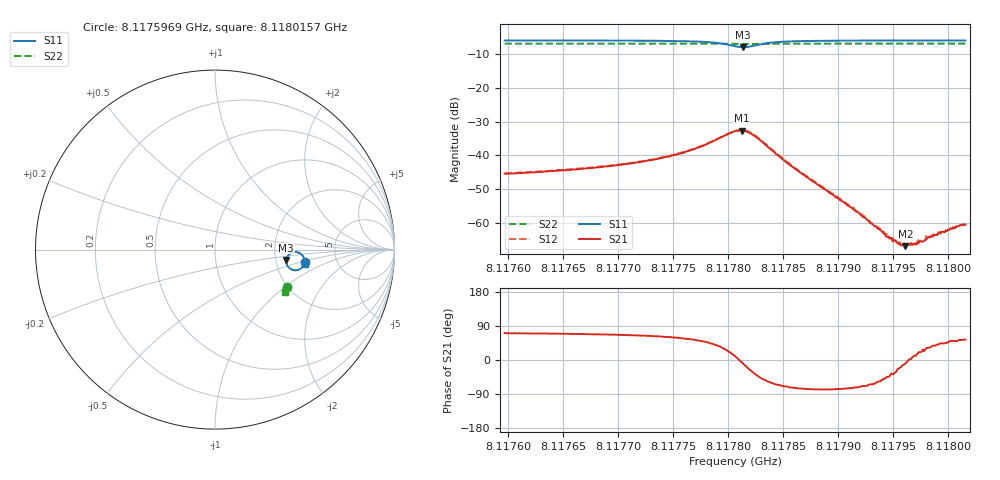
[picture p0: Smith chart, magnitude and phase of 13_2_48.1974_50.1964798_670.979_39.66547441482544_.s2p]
#  HZ  S  RI  R  50.00
! Rohde & Schwarz Vector Network Analyzer
! Rohde-Schwarz,ZNB20-2Port,1311601062101988,3.16
! Created: UTC 3/20/2024, 11:36:38 AM
! freq[Hz]  re:S11  im:S11  re:S21  im:S21  re:S12  im:S12  re:S22  im:S22
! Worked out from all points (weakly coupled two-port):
!   401 points, 8.1175969 GHz to 8.1180157 GHz, reference 50 ohm
!   highest |S21| = -32.65 dB at 8.1178126 GHz (marker M1); lowest = -67.0 dB at 8.1179613 GHz (marker M2)
!   lowest |S11| = -7.9 dB at 8.1178137 GHz (marker M3), VSWR 2.34, Z = 114 - j15.9 ohm
!   |S11| at or under -10 dB: nowhere
!   |S22| runs from -7.0 to -6.9 dB; largest |S21 - S12| = 0.00071
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8.11759695e9  0.5004 -0.067  0.00171 0.00505  0.00185 0.00511  0.4015 -0.2083
8.11766709e9  0.4979 -0.0766  0.00232 0.00586  0.00242 0.00593  0.3993 -0.2129
8.11770478e9  0.4951 -0.0837  0.00296 0.00668  0.0031 0.00678  0.3982 -0.2155
8.11773723e9  0.4904 -0.0924  0.00413 0.00791  0.00429 0.00798  0.397 -0.2177
8.11776969e9  0.4765 -0.1065  0.00739 0.00992  0.00767 0.00997  0.3951 -0.2201
8.11779376e9  0.4404 -0.1149  0.0155 0.0104  0.0155 0.0103  0.3925 -0.2216
8.11780633e9  0.4048 -0.0922  0.0224 0.00399  0.0225 0.0041  0.3908 -0.2208
8.11781261e9  0.3965 -0.0635  0.0232 -0.00244  0.0236 -0.00248  0.3905 -0.2199
8.11781366e9  0.3969 -0.0582  0.0228 -0.00372  0.0235 -0.00349  0.3906 -0.2196
8.11781889e9  0.4064 -0.0341  0.0199 -0.00873  0.0205 -0.00875  0.3911 -0.2188
8.11782517e9  0.4281 -0.0172  0.0147 -0.0117  0.0152 -0.0119  0.3922 -0.2187
8.11784506e9  0.4774 -0.0229  0.00415 -0.00912  0.0043 -0.00939  0.3938 -0.2208
8.11787647e9  0.4952 -0.046  0.000942 -0.00405  0.000954 -0.00421  0.3935 -0.224
8.11792358e9  0.4991 -0.0626  0.000435 -0.00111  0.000433 -0.00117  0.3919 -0.2274
8.11794661e9  0.4994 -0.0674  0.00042 -0.000404  0.000459 -0.000403  0.3911 -0.2291
8.11795603e9  0.4994 -0.0691  0.000464 -0.000168  0.000469 -0.000212  0.3908 -0.2296
8.11796127e9  0.4994 -0.07  0.000444 -6.58e-05  0.000466 -7.21e-05  0.3907 -0.2299
8.11796964e9  0.4993 -0.0714  0.000482 0.000101  0.000485 9.09e-05  0.3904 -0.2307
8.11797802e9  0.4994 -0.0727  0.000492 0.00021  0.00051 0.000238  0.3902 -0.2312
8.11799268e9  0.4991 -0.0747  0.000517 0.000492  0.000543 0.000469  0.3897 -0.2321
8.11800419e9  0.4991 -0.0763  0.000518 0.00063  0.000555 0.000653  0.3893 -0.2329
8.11801571e9  0.499 -0.0777  0.000557 0.000753  0.000581 0.000737  0.3888 -0.2335
